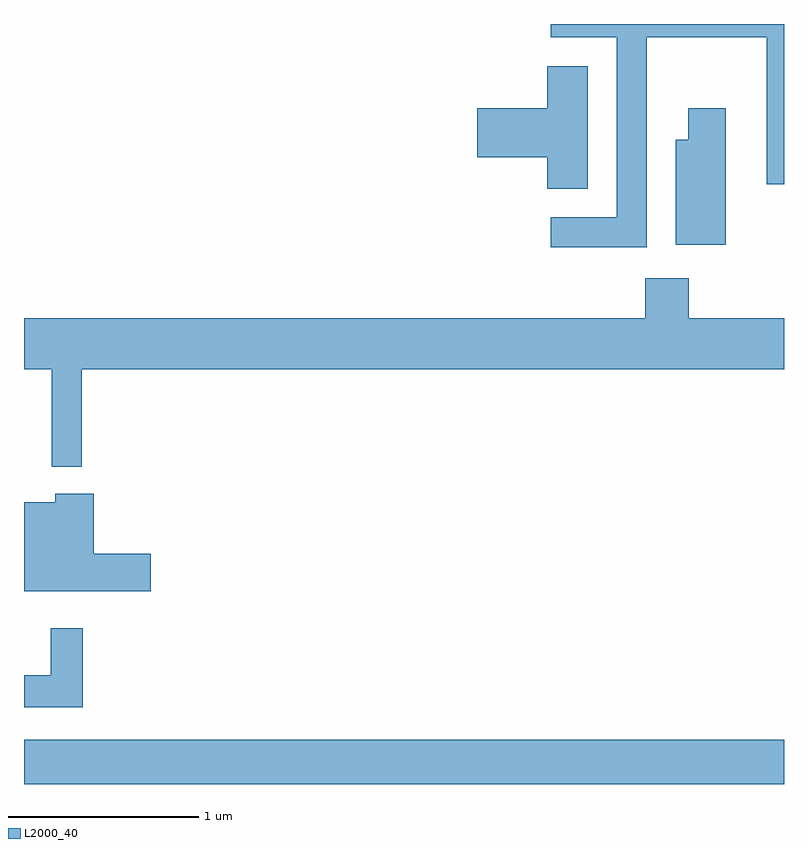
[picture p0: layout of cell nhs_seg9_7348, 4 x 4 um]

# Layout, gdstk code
import gdstk
lib = gdstk.Library(unit=1e-6, precision=1e-09)
def R(c, l, rs):  # rectangles x0, y0, x1, y1
    for r in rs: c.add(gdstk.rectangle(r[:2], r[2:], *l))
def P(c, l, *ps):  # polygons
    for p in ps: c.add(gdstk.Polygon(p, *l))
L2000_40 = (2000, 40)

nhs_seg9_7348 = lib.new_cell('nhs_seg9_7348')
R(nhs_seg9_7348, L2000_40, [(401.611,2078.432,405.611,2078.664)])
P(nhs_seg9_7348, L2000_40, [(404.889,2082.361),(405.521,2082.361),(405.521,2081.588),(405.611,2081.588),(405.611,2082.432),(404.383,2082.432),(404.383,2082.361),(404.731,2082.361),(404.731,2081.414),(404.383,2081.414),(404.383,2081.256),(404.889,2081.256)],
  [(404.579,2082.209),(404.366,2082.209),(404.366,2081.989),(403.996,2081.989),(403.996,2081.731),(404.366,2081.731),(404.366,2081.566),(404.579,2081.566)],
  [(405.304,2081.989),(405.106,2081.989),(405.106,2081.824),(405.041,2081.824),(405.041,2081.271),(405.304,2081.271)],
  [(401.914,2080.616),(405.611,2080.616),(405.611,2080.884),(405.109,2080.884),(405.109,2081.094),(404.881,2081.094),(404.881,2080.884),(401.611,2080.884),(401.611,2080.616),(401.756,2080.616),(401.756,2080.103),(401.914,2080.103)],
  [(402.279,2079.644),(401.979,2079.644),(401.979,2079.959),(401.776,2079.959),(401.776,2079.914),(401.611,2079.914),(401.611,2079.446),(402.279,2079.446)],
  [(401.919,2079.253),(401.751,2079.253),(401.751,2079.004),(401.611,2079.004),(401.611,2078.836),(401.919,2078.836)])

lib.write_gds('nhs_seg9_7348.gds')
